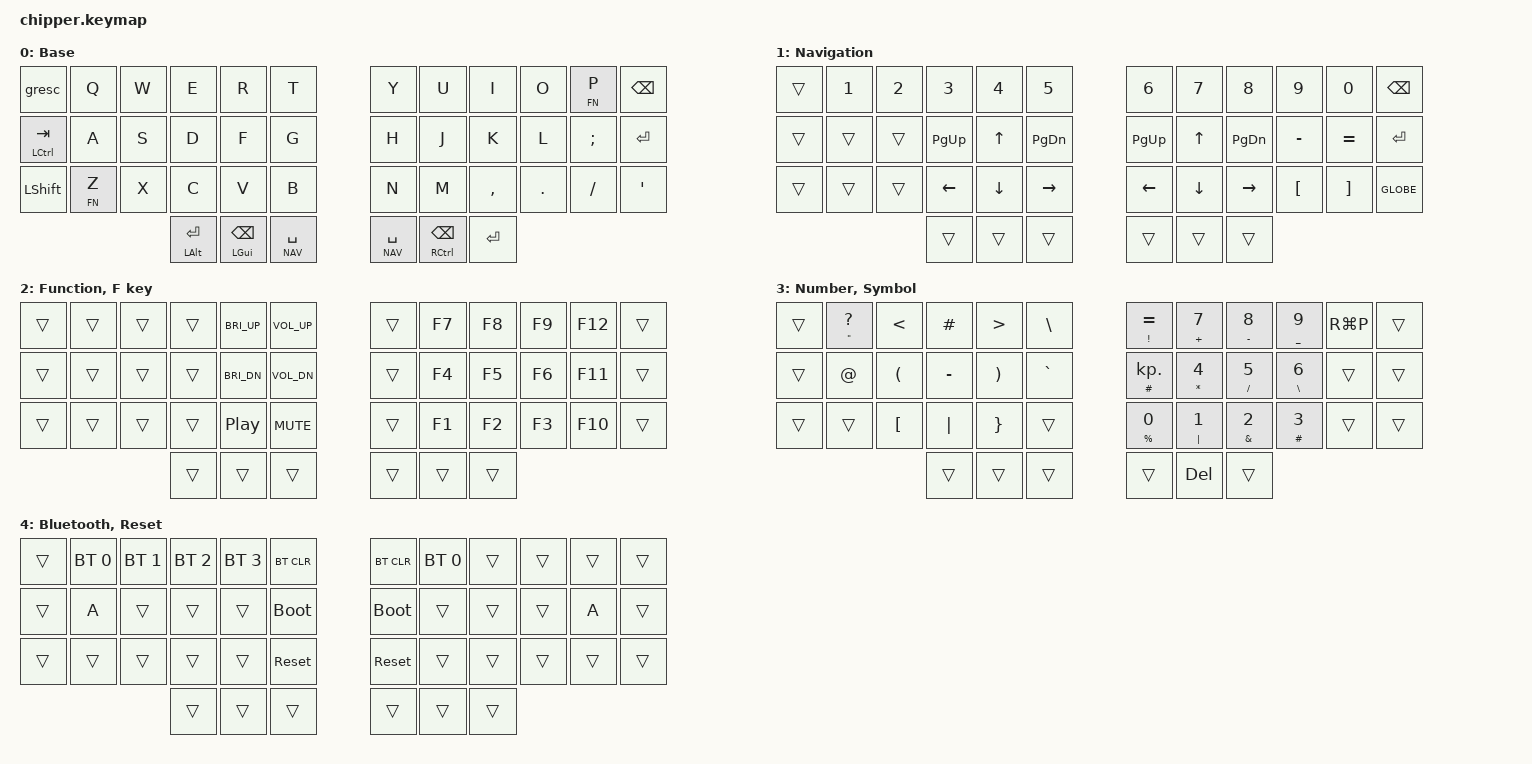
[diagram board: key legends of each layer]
#include <behaviors.dtsi>
#include <dt-bindings/zmk/keys.h>
#include <dt-bindings/zmk/bt.h>
#include <dt-bindings/zmk/outputs.h>

#define XXX &none
#define ___ &trans

#define COMBO_TIMEOUT 60

#define DEF 0
#define NAV 1
#define FN 2
#define NUM 3
#define SYS 4

/ {
    macros {
	nayeon: nayeon {
            compatible = "zmk,behavior-macro";
            #binding-cells = <0>;
            bindings
                = <&macro_tap_time 10>
		,<&macro_tap &kp N &kp A &kp Y &kp E &kp O &kp N &kp RET>;
        };
    };
};

/ {
    combos {
        compatible = "zmk,combos";
	 combo_cw {
            timeout-ms = <COMBO_TIMEOUT>;
            key-positions = <6 30>;
            bindings = <&nayeon>;
        };
    };
};

/ {
        bht: balanced_hold_taps {
            compatible = "zmk,behavior-hold-tap";
            #binding-cells = <2>;
            tapping-term-ms = <280>;    // <---[[moderate duration]]
            flavor = "balanced";
            bindings = <&kp>, <&kp>;
            quick-tap-ms = <175>;       // repeat on tap-into-hold
            require-prior-idle-ms = <150>;
        };
    };
/ {
    conditional_layers {
        compatible = "zmk,conditional-layers";
        tri_layer {
            if-layers = <1 2>;
            then-layer = <4>;
        };
    };
};

/ {
        keymap {
                compatible = "zmk,keymap";

                DEF_layer {
                        display-name = "Base";
                        bindings = <
            //╭──────╮ ╭─────────────┬─────────────┬─────────────┬─────────────┬─────────────╮   ╭─────────────┬─────────────┬─────────────┬─────────────┬─────────────╮ ╭──────╮
            &gresc          &kp Q         &kp W        &kp E         &kp R         &kp T            &kp Y         &kp U          &kp I         &kp O        &lt FN P      &kp BSPC
            //├──────┤ ├─────────────┼─────────────┼─────────────┼─────────────┼─────────────┤   ├─────────────┼─────────────┼──────|──────┼─────────────┼─────────────┤ ├──────┤
            &mt LCTRL TAB   &kp A         &kp S        &kp D         &kp F         &kp G            &kp H         &kp J          &kp K         &kp L        &kp SEMI      &kp RET
            //├──────┤ ├─────────────┼─────────────┼─────────────┼─────────────┼─────────────┤   ├──────#──────┼─────────────┼─────────────┼─────────────┼─────────────┤ ├──────┤
            &kp LSHFT       &lt FN Z      &kp X        &kp C         &kp V         &kp B            &kp N         &kp M          &kp COMMA     &kp DOT      &kp FSLH      &kp SQT
            //├──────┤ ╰─────────────┼─────────────┴─────────────┼─────────────┼─────────────┤   ├─────────────┼─────────────┼─────────────┴───────────────────────────╯ ├──────┤
                                                       &mt LALT RET  &mt LGUI BSPC &lt NAV SPC      &lt NAV SPC   &mt RCTRL BSPC &kp RET
             //                                    ╰────────────┼──────────────┴─────────────╯   ╰─────────────┴─────────────┼─────────────╯
                        >;
                };

                

                NAV_layer {
                        display-name = "Navigation";
                        bindings = <
//╭──────╮ ╭─────────────┬─────────────┬─────────────┬─────────────┬─────────────╮ ╭─────────────┬─────────────┬─────────────┬─────────────┬─────────────╮ ╭──────╮
    ___         &kp N1       &kp N2        &kp N3        &kp N4       &kp N5          &kp N6        &kp N7        &kp N8        &kp N9        &kp N0       &kp BSPC
//├──────┤ ├─────────────┼─────────────┼─────────────┼─────────────┼───toggle────┤ ├─────────────┼─────────────┼─────────────┼─────────────┼─────────────┤ ├──────┤
    ___          ___           ___         &kp PG_UP     &kp UP       &kp PG_DN       &kp PG_UP     &kp UP        &kp PG_DN     &kp MINUS     &kp EQUAL    &kp RET
//├──────┤ ├─────────────┼─────────────┼─────────────┼─────────────┼─────────────┤ ├─────────────┼─────────────┼─────────────┼─────────────┼─────────────┤ ├──────┤
    ___          ___           ___         &kp LEFT      &kp DOWN     &kp RIGHT       &kp LEFT      &kp DOWN      &kp RIGHT     &kp LBKT      &kp RBKT     &kp GLOBE
//├──────┤ ╰─────────────┼─────────────┴─────────────┼─────────────┼─────────────┤ ├─────────────┼─────────────┼─────────────┴───────────────────────────╯ ├──────┤
                                              ___          ___           ___            ___           ___           ___
//                                      ╰────────────╰─────────────┴─────────────╯ ╰─────────────┴─────────────╯─────────────╯                                           
                        >;
                };

                FN_layer {
                        display-name = "Function, F key";
                        bindings = <
//╭──────╮ ╭─────────────┬─────────────┬─────────────┬─────────────┬─────────────╮ ╭─────────────┬─────────────┬─────────────┬─────────────┬─────────────╮ ╭──────╮
    ___        ___         ___           ___           &kp C_BRI_UP  &kp C_VOL_UP      ___            &kp F7        &kp F8        &kp F9         &kp F12       ___
//├──────┤ ├─────────────┼─────────────┼─────────────┼─────────────┼─────────────┤ ├─────────────┼─────────────┼─────────────┼─────────────┼─────────────┤ ├──────┤
    ___        ___         ___           ___           &kp C_BRI_DN  &kp C_VOL_DN      ___            &kp F4        &kp F5        &kp F6         &kp F11       ___
//├──────┤ ├─────────────┼─────────────┼─────────────┼─────────────┼─────────────┤ ├─────────────┼─────────────┼─────────────┼─────────────┼─────────────┤ ├──────┤
    ___        ___         ___           ___           &kp C_PP      &kp C_MUTE        ___            &kp F1        &kp F2        &kp F3         &kp F10       ___
//├──────┤ ╰─────────────┼─────────────┴─────────────┼─────────────┼─────────────┤ ├─────────────┼─────────────┼─────────────┴───────────────────────────╯ ├──────┤
                                               ___        ___           ___            ___           ___            ___                                       
//                                           ╰──────╯╰─────────────┴─────────────╯ ╰─────────────┴─────────────╯╰──────╯                                           
                        >;
		};
		
		        NUM_layer {
                        display-name = "Number, Symbol";
                        bindings = <
//╭──────╮ ╭─────────────┬─────────────┬─────────────┬─────────────┬─────────────╮ ╭──────────────┬──────────────┬─────────────┬─────────────┬─────────────╮ ╭──────╮
    ___     &bht DQT QMARK &kp LT        &kp HASH      &kp GT        &kp BSLH       &bht EXCL EQUAL  &bht PLUS N7 &bht MINUS N8 &bht UNDER N9  &kp RG(P)     ___
//├──────┤ ├─────────────┼─────────────┼─────────────┼─────────────┼─────────────┤ ├──────=!──────┼──────7+──────┼─────8-──────┼─────9_──────┼─────────────┤ ├──────┤
    ___     &kp AT         &kp LPAR      &kp MINUS     &kp RPAR      &kp GRAVE      &bht HASH KP_DOT &bht STAR N4 &bht FSLH N5  &bht BSLH N6  ___           ___
//├──────┤ ├─────────────┼─────────────┼─────────────┼─────────────┼─────────────┤ ├──────.#──────┼─────4*───────┼──────5/─────┼──────6\─────┼─────────────┤ ├──────┤
    ___     ___            &kp LBKT        &kp PIPE    &kp RBRC      ___            &bht PRCNT N0   &bht PIPE N1   &bht AMPS N2  &bht HASH N3  ___           ___
//├──────┤ ╰─────────────┼─────────────┴─────────────┼─────────────┼─────────────┤ ├──────0%──────┼──────1|──────┼─────2&──────┼──────3──────┼─────────────╯ ╰──────╯
                                         ___           ___           ___             ___           &kp DEL        ___                                    
//                                     ╰─────────────┴─────────────┴─────────────╯ ╰──────────────┴──────────────┼─────────────╯                                     
                        >;
		};

                        		SYS_layer {
                        display-name = "Bluetooth, Reset";
                        bindings = <
//╭──────╮ ╭─────────────┬─────────────┬─────────────┬─────────────┬─────────────╮ ╭─────────────┬─────────────┬─────────────┬─────────────┬─────────────╮ ╭──────╮
    ___    &bt BT_SEL 0   &bt BT_SEL 1  &bt BT_SEL 2  &bt BT_SEL 3   &bt BT_CLR       &bt BT_CLR    &bt BT_SEL 0  ___           ___           ___             ___
//├──────┤ ├─────────────┼─────────────┼─────────────┼─────────────┼─────────────┤ ├─────────────┼─────────────┼─────────────┼─────────────┼─────────────┤ ├──────┤
    ___     &kp A         ___           ___           ___            &bootloader      &bootloader   ___           ___           ___           &kp A           ___
//├──────┤ ├─────────────┼─────────────┼─────────────┼─────────────┼─────────────┤ ├─────────────┼─────────────┼─────────────┼─────────────┼─────────────┤ ├──────┤
    ___     ___           ___           ___           ___            &sys_reset       &sys_reset    ___           ___           ___           ___             ___
//├──────┤ ╰─────────────┼─────────────┴─────────────┼─────────────┼─────────────┤ ├─────────────┼─────────────┼─────────────┴───────────────────────────╯ ├──────┤
    ___                                                ___           ___              ___           ___                                                       ___
//╰──────╯                                           ╰─────────────┴─────────────╯ ╰─────────────┴─────────────╯                                           ╰──────╯
                        >;
		};

        };
};
